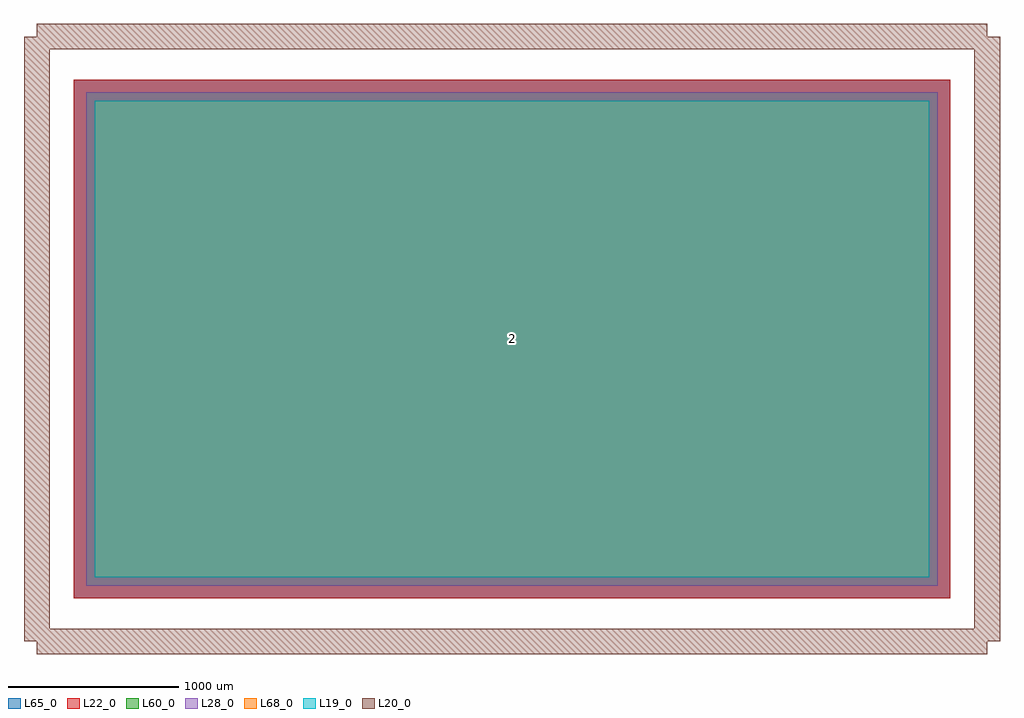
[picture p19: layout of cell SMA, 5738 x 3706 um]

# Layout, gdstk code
import gdstk
lib = gdstk.Library(unit=1e-6, precision=1e-09)
def R(c, l, rs):  # rectangles x0, y0, x1, y1
    for r in rs: c.add(gdstk.rectangle(r[:2], r[2:], *l))
L19_0 = (19, 0)
L20_0 = (20, 0)
L22_0 = (22, 0)
L28_0 = (28, 0)
L60_0 = (60, 0)
L65_0 = (65, 0)
L68_0 = (68, 0)

sma = lib.new_cell('SMA')
R(sma, L19_0, [(-2451.9,-1400.34,2451.9,1400.34)])
R(sma, L22_0, [(-2576.9,-1525.34,2576.9,1525.34)])
R(sma, L28_0, [(-2501.9,-1450.34,2501.9,1450.34)])
R(sma, L60_0, [(-2501.9,-1450.34,2501.9,1450.34)])
R(sma, L65_0, [(-2576.9,-1525.34,2576.9,1525.34)])
R(sma, L68_0, [(-2451.9,-1400.34,2451.9,1400.34)])
sma.add(gdstk.FlexPath([(-2794,-1778),(-2794,1778)], 149.998, ends="flush", simple_path=True, layer=20, datatype=0))  # L20_0
sma.add(gdstk.FlexPath([(2794,-1778),(-2794,-1778)], 149.998, ends="flush", simple_path=True, layer=20, datatype=0))  # L20_0
sma.add(gdstk.FlexPath([(2794,1778),(2794,-1778)], 149.998, ends="flush", simple_path=True, layer=20, datatype=0))  # L20_0
sma.add(gdstk.FlexPath([(-2794,1778),(2794,1778)], 149.998, ends="flush", simple_path=True, layer=20, datatype=0))  # L20_0
sma.add(gdstk.Label('2', (0,0), layer=60, texttype=0))
sma.add(gdstk.Label('1', (0,0), layer=28, texttype=0))
sma.add(gdstk.Label('type', (0,-3048), layer=9, texttype=0))
sma.add(gdstk.Label('devicename', (0,2667), layer=9, texttype=0))

lib.write_gds('SMA.gds')
